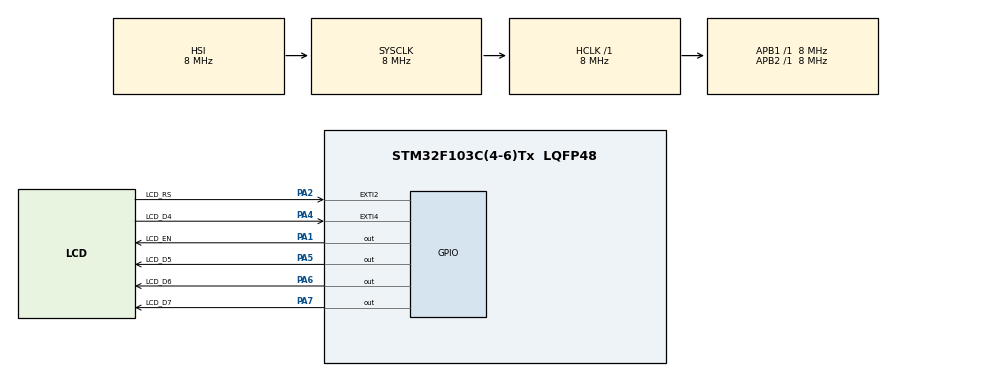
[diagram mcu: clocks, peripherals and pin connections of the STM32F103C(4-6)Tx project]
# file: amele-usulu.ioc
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Mcu.Family=STM32F1
Mcu.Name=STM32F103C(4-6)Tx
Mcu.Package=LQFP48
NVIC.PriorityGroup=NVIC_PRIORITYGROUP_4
PA1.GPIO_Label=LCD_EN
PA1.Signal=GPIO_Output
PA2.GPIO_Label=LCD_RS
PA2.Signal=GPXTI2
PA4.GPIO_Label=LCD_D4
PA4.Signal=GPXTI4
PA5.GPIO_Label=LCD_D5
PA5.Signal=GPIO_Output
PA6.GPIO_Label=LCD_D6
PA6.Signal=GPIO_Output
PA7.GPIO_Label=LCD_D7
PA7.Signal=GPIO_Output
PC14-OSC32_IN.Mode=LSE-External-Oscillator
PC14-OSC32_IN.Signal=RCC_OSC32_IN
PC15-OSC32_OUT.Mode=LSE-External-Oscillator
PC15-OSC32_OUT.Signal=RCC_OSC32_OUT
PD0-OSC_IN.Mode=HSE-External-Oscillator
PD0-OSC_IN.Signal=RCC_OSC_IN
PD1-OSC_OUT.Mode=HSE-External-Oscillator
PD1-OSC_OUT.Signal=RCC_OSC_OUT
ProjectManager.HeapSize=0x200
ProjectManager.StackSize=0x400
ProjectManager.TargetToolchain=STM32CubeIDE
RCC.AHBFreq_Value=8000000
RCC.APB1Freq_Value=8000000
RCC.APB1TimFreq_Value=8000000
RCC.APB2Freq_Value=8000000
RCC.APB2TimFreq_Value=8000000
RCC.HCLKFreq_Value=8000000
RCC.RTCClockSelection=RCC_RTCCLKSOURCE_LSE
RCC.SYSCLKFreq_VALUE=8000000
RCC.USBFreq_Value=8000000
RTC.Date=8
RTC.Format=RTC_FORMAT_BIN
RTC.Hours=19
RTC.Minutes=37
RTC.Month=RTC_MONTH_JUNE
RTC.WeekDay=RTC_WEEKDAY_THURSDAY
RTC.Year=25
VP_RTC_VS_RTC_Activate.Mode=RTC_Enabled
VP_RTC_VS_RTC_Calendar.Mode=RTC_Calendar
VP_SYS_VS_ND.Mode=No_Debug
board=custom

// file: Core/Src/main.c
/* USER CODE BEGIN Header */
/**
  ******************************************************************************
  * @file           : main.c
  * @brief          : Main program body
  ******************************************************************************
  * @attention
  *
  * Copyright (c) 2025 STMicroelectronics.
  * All rights reserved.
  *
  * This software is licensed under terms that can be found in the LICENSE file
  * in the root directory of this software component.
  * If no LICENSE file comes with this software, it is provided AS-IS.
  *
  ******************************************************************************
  */
/* USER CODE END Header */
#include "main.h"

/* USER CODE BEGIN Includes */
#include "LCD.h"
/* USER CODE END Includes */

RTC_HandleTypeDef hrtc;

/* USER CODE BEGIN PV */
char line1[32], line2[32];

RTC_TimeTypeDef sTime;
RTC_DateTypeDef DateToUpdate;

uint16_t day,month,year;
uint16_t second,minute,hour;

/* USER CODE END PV */

void SystemClock_Config(void);
static void MX_GPIO_Init(void);
static void MX_RTC_Init(void);

int main(void)
{

  /* MCU Configuration--------------------------------------------------------*/

  /* Reset of all peripherals, Initializes the Flash interface and the Systick. */
  HAL_Init();

  /* Configure the system clock */
  SystemClock_Config();

  /* Initialize all configured peripherals */
  MX_GPIO_Init();
  MX_RTC_Init();
  /* USER CODE BEGIN 2 */
  lcd_init(_LCD_4BIT, _LCD_FONT_5x8, _LCD_2LINE);
  lcd_print(1, 1, "test");

  HAL_Delay(1000);
  lcd_clear();

  /* USER CODE END 2 */

  /* Infinite loop */
  while (1)
  {

    /* USER CODE BEGIN 3 */

	  HAL_RTC_GetTime(&hrtc, &sTime, RTC_FORMAT_BIN);
	  HAL_RTC_GetDate(&hrtc, &DateToUpdate, RTC_FORMAT_BIN);

	  day = DateToUpdate.Date;
	  month = DateToUpdate.Month;
	  year = DateToUpdate.Year;

	  second = sTime.Seconds;
	  minute = sTime.Minutes;
	  hour = sTime.Hours;

	  sprintf(line1, "%.2d:%.2d:%.2d", hour,minute,second);
	  sprintf(line2, "%.2d-%.2d-%.2d", day,month,year);

	  lcd_print(1, 1, line1);
	  lcd_print(2, 1, line2);

	  HAL_Delay(250);

  }
  /* USER CODE END 3 */
}

void SystemClock_Config(void)
{
  RCC_OscInitTypeDef RCC_OscInitStruct = {0};
  RCC_ClkInitTypeDef RCC_ClkInitStruct = {0};
  RCC_PeriphCLKInitTypeDef PeriphClkInit = {0};

  /** Initializes the RCC Oscillators according to the specified parameters
  * in the RCC_OscInitTypeDef structure.
  */
  RCC_OscInitStruct.OscillatorType = RCC_OSCILLATORTYPE_HSI|RCC_OSCILLATORTYPE_LSE;
  RCC_OscInitStruct.LSEState = RCC_LSE_ON;
  RCC_OscInitStruct.HSIState = RCC_HSI_ON;
  RCC_OscInitStruct.HSICalibrationValue = RCC_HSICALIBRATION_DEFAULT;
  RCC_OscInitStruct.PLL.PLLState = RCC_PLL_NONE;
  if (HAL_RCC_OscConfig(&RCC_OscInitStruct) != HAL_OK)
  {
    Error_Handler();
  }

  /** Initializes the CPU, AHB and APB buses clocks
  */
  RCC_ClkInitStruct.ClockType = RCC_CLOCKTYPE_HCLK|RCC_CLOCKTYPE_SYSCLK
                              |RCC_CLOCKTYPE_PCLK1|RCC_CLOCKTYPE_PCLK2;
  RCC_ClkInitStruct.SYSCLKSource = RCC_SYSCLKSOURCE_HSI;
  RCC_ClkInitStruct.AHBCLKDivider = RCC_SYSCLK_DIV1;
  RCC_ClkInitStruct.APB1CLKDivider = RCC_HCLK_DIV1;
  RCC_ClkInitStruct.APB2CLKDivider = RCC_HCLK_DIV1;

  if (HAL_RCC_ClockConfig(&RCC_ClkInitStruct, FLASH_LATENCY_0) != HAL_OK)
  {
    Error_Handler();
  }
  PeriphClkInit.PeriphClockSelection = RCC_PERIPHCLK_RTC;
  PeriphClkInit.RTCClockSelection = RCC_RTCCLKSOURCE_LSE;
  if (HAL_RCCEx_PeriphCLKConfig(&PeriphClkInit) != HAL_OK)
  {
    Error_Handler();
  }
}

static void MX_RTC_Init(void)
{

  RTC_TimeTypeDef sTime = {0};
  RTC_DateTypeDef DateToUpdate = {0};

  /** Initialize RTC Only
  */
  hrtc.Instance = RTC;
  hrtc.Init.AsynchPrediv = RTC_AUTO_1_SECOND;
  hrtc.Init.OutPut = RTC_OUTPUTSOURCE_ALARM;
  if (HAL_RTC_Init(&hrtc) != HAL_OK)
  {
    Error_Handler();
  }

  /** Initialize RTC and set the Time and Date
  */
  sTime.Hours = 19;
  sTime.Minutes = 37;
  sTime.Seconds = 0;

  if (HAL_RTC_SetTime(&hrtc, &sTime, RTC_FORMAT_BIN) != HAL_OK)
  {
    Error_Handler();
  }
  DateToUpdate.WeekDay = RTC_WEEKDAY_THURSDAY;
  DateToUpdate.Month = RTC_MONTH_JUNE;
  DateToUpdate.Date = 8;
  DateToUpdate.Year = 25;

  if (HAL_RTC_SetDate(&hrtc, &DateToUpdate, RTC_FORMAT_BIN) != HAL_OK)
  {
    Error_Handler();
  }

}

static void MX_GPIO_Init(void)
{
  GPIO_InitTypeDef GPIO_InitStruct = {0};

  /* GPIO Ports Clock Enable */
  __HAL_RCC_GPIOC_CLK_ENABLE();
  __HAL_RCC_GPIOD_CLK_ENABLE();
  __HAL_RCC_GPIOA_CLK_ENABLE();

  /*Configure GPIO pin Output Level */
  HAL_GPIO_WritePin(GPIOA, LCD_EN_Pin|LCD_D5_Pin|LCD_D6_Pin|LCD_D7_Pin, GPIO_PIN_RESET);

  /*Configure GPIO pins : LCD_EN_Pin LCD_D5_Pin LCD_D6_Pin LCD_D7_Pin */
  GPIO_InitStruct.Pin = LCD_EN_Pin|LCD_D5_Pin|LCD_D6_Pin|LCD_D7_Pin;
  GPIO_InitStruct.Mode = GPIO_MODE_OUTPUT_PP;
  GPIO_InitStruct.Pull = GPIO_NOPULL;
  GPIO_InitStruct.Speed = GPIO_SPEED_FREQ_LOW;
  HAL_GPIO_Init(GPIOA, &GPIO_InitStruct);

  /*Configure GPIO pins : LCD_RS_Pin LCD_D4_Pin */
  GPIO_InitStruct.Pin = LCD_RS_Pin|LCD_D4_Pin;
  GPIO_InitStruct.Mode = GPIO_MODE_IT_RISING;
  GPIO_InitStruct.Pull = GPIO_NOPULL;
  HAL_GPIO_Init(GPIOA, &GPIO_InitStruct);

}

void Error_Handler(void)
{
  __disable_irq();
  while (1)
  {
  }
}
